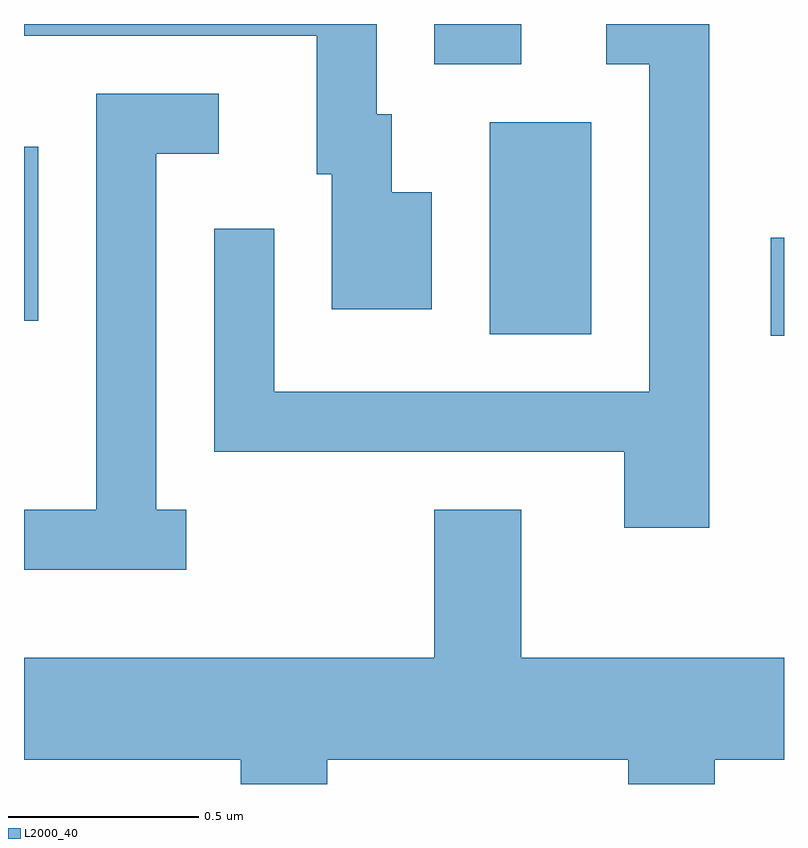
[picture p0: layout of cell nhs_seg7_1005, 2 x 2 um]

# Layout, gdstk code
import gdstk
lib = gdstk.Library(unit=1e-6, precision=1e-09)
def R(c, l, rs):  # rectangles x0, y0, x1, y1
    for r in rs: c.add(gdstk.rectangle(r[:2], r[2:], *l))
def P(c, l, *ps):  # polygons
    for p in ps: c.add(gdstk.Polygon(p, *l))
L2000_40 = (2000, 40)

nhs_seg7_1005 = lib.new_cell('nhs_seg7_1005')
R(nhs_seg7_1005, L2000_40, [(194.576,1715.431,194.611,1715.689), (193.836,1715.436,194.104,1715.994), (192.611,1715.471,192.649,1715.929), (193.691,1716.146,193.919,1716.252)])
P(nhs_seg7_1005, L2000_40, [(193.684,1715.809),(193.579,1715.809),(193.579,1716.014),(193.539,1716.014),(193.539,1716.252),(192.611,1716.252),(192.611,1716.221),(193.381,1716.221),(193.381,1715.856),(193.421,1715.856),(193.421,1715.501),(193.684,1715.501)],
  [(194.414,1716.252),(194.143,1716.252),(194.143,1716.146),(194.256,1716.146),(194.256,1715.284),(193.269,1715.284),(193.269,1715.713),(193.111,1715.713),(193.111,1715.126),(194.191,1715.126),(194.191,1714.926),(194.414,1714.926)],
  [(193.038,1714.974),(192.959,1714.974),(192.959,1715.911),(193.123,1715.911),(193.123,1716.069),(192.801,1716.069),(192.801,1714.974),(192.611,1714.974),(192.611,1714.816),(193.038,1714.816)],
  [(193.409,1714.316),(194.201,1714.316),(194.201,1714.252),(194.429,1714.252),(194.429,1714.316),(194.611,1714.316),(194.611,1714.584),(193.919,1714.584),(193.919,1714.974),(193.691,1714.974),(193.691,1714.584),(192.611,1714.584),(192.611,1714.316),(193.181,1714.316),(193.181,1714.252),(193.409,1714.252)])

lib.write_gds('nhs_seg7_1005.gds')
